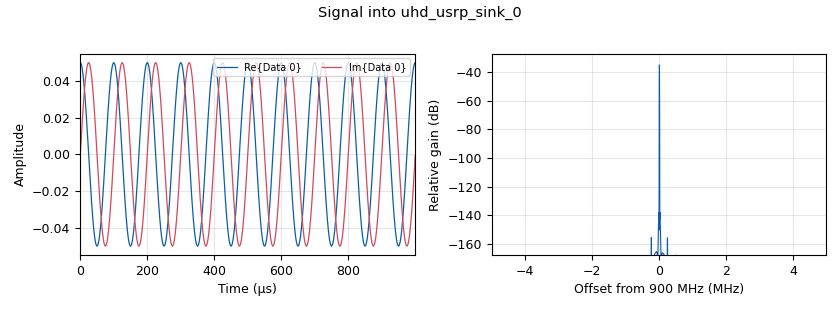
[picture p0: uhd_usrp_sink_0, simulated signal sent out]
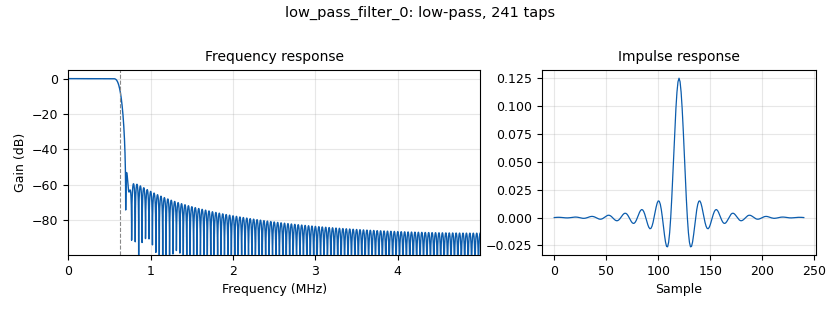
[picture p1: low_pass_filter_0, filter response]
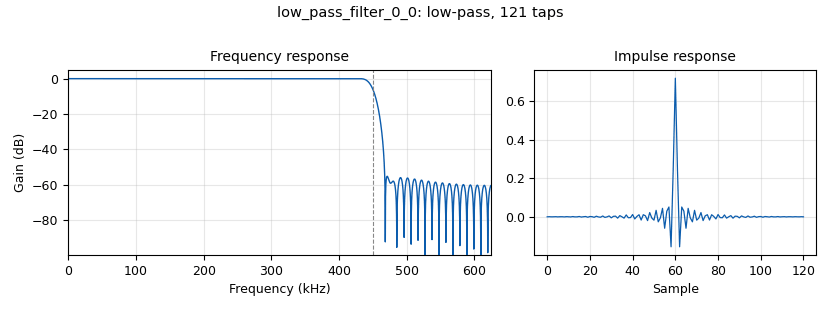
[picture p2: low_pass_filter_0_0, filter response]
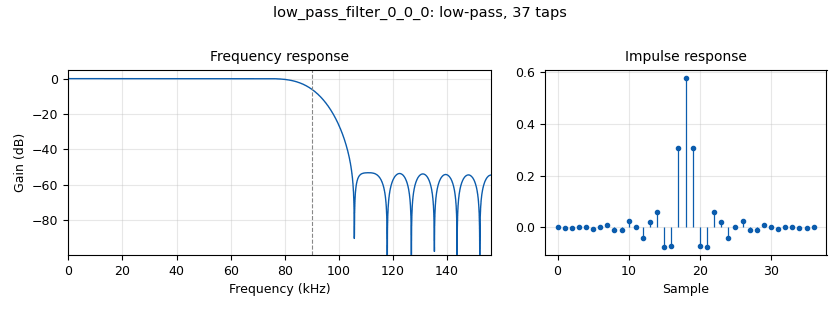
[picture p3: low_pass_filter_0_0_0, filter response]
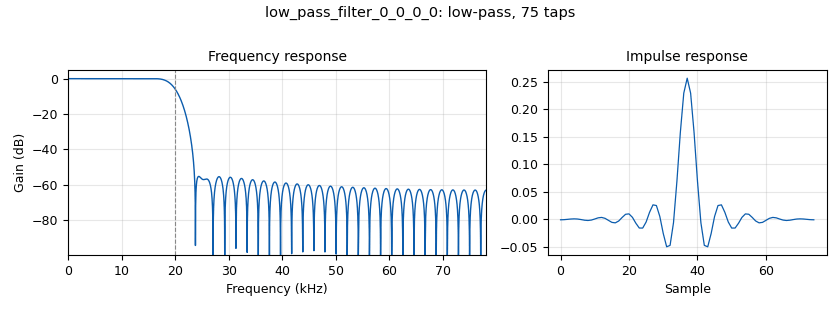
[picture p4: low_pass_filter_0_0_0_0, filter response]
options:
  parameters:
    generate_options: qt_gui
    id: test0_usrp
    output_language: python
    title: USRP loopback
  states: {}

blocks:
- name: collection_time_sec
  id: variable
  parameters:
    value: '10'
  states: {}
- name: fb
  id: variable
  parameters:
    value: 10e3
  states: {}
- name: fc
  id: variable
  parameters:
    value: 900e6
  states: {}
- name: fs_stage1
  id: variable
  parameters:
    value: samp_rate/8
  states: {}
- name: fs_stage2
  id: variable
  parameters:
    value: fs_stage1/4
  states: {}
- name: fs_stage3
  id: variable
  parameters:
    value: fs_stage2/2
  states: {}
- name: samp_rate
  id: variable
  parameters:
    value: 10e6
  states: {}
- name: analog_sig_source_x_0
  id: analog_sig_source_x
  parameters:
    amp: '0.05'
    freq: fb
    offset: '0'
    phase: '0'
    samp_rate: samp_rate
    type: complex
    waveform: analog.GR_SIN_WAVE
  states: {}
- name: analog_sig_source_x_0_0
  id: analog_sig_source_x
  parameters:
    amp: '0.05'
    freq: fb
    offset: '0'
    phase: '0'
    samp_rate: samp_rate
    type: complex
    waveform: analog.GR_SIN_WAVE
  states: {}
- name: blocks_complex_to_arg_0
  id: blocks_complex_to_arg
  parameters: {}
  states: {}
- name: blocks_multiply_conjugate_cc_1
  id: blocks_multiply_conjugate_cc
  parameters: {}
  states: {}
- name: low_pass_filter_0
  id: low_pass_filter
  parameters:
    cutoff_freq: '625000'
    decim: '8'
    gain: '1'
    samp_rate: samp_rate
    type: fir_filter_fff
    width: '100000'
    win: window.WIN_HAMMING
  states: {}
- name: low_pass_filter_0_0
  id: low_pass_filter
  parameters:
    cutoff_freq: '450000'
    decim: '4'
    gain: '1'
    samp_rate: fs_stage1
    type: fir_filter_fff
    width: '25000'
    win: window.WIN_HAMMING
  states: {}
- name: low_pass_filter_0_0_0
  id: low_pass_filter
  parameters:
    cutoff_freq: '90000'
    decim: '2'
    gain: '1'
    samp_rate: fs_stage2
    type: fir_filter_fff
    width: '20000'
    win: window.WIN_HAMMING
  states: {}
- name: low_pass_filter_0_0_0_0
  id: low_pass_filter
  parameters:
    cutoff_freq: '20000'
    decim: '1'
    gain: '1'
    samp_rate: fs_stage3
    type: fir_filter_fff
    width: '5000'
    win: window.WIN_HAMMING
  states: {}
- name: qtgui_const_sink_x_0
  id: qtgui_const_sink_x
  parameters:
    autoscale: 'True'
    grid: 'True'
    name: IQ constellation
    size: '1024'
    type: complex
  states: {state: disabled}
- name: qtgui_freq_sink_x_0
  id: qtgui_freq_sink_x
  parameters:
    autoscale: 'True'
    average: '0.2'
    bw: '10000'
    fc: '0'
    fftsize: '2048'
    grid: 'True'
    norm_window: 'True'
    type: float
    update_time: '0.01'
  states: {state: disabled}
- name: qtgui_time_sink_x_0
  id: qtgui_time_sink_x
  parameters:
    autoscale: 'True'
    grid: 'True'
    name: Phase (arg(I + jQ))
    size: '1024'
    srate: samp_rate
    type: float
    ylabel: Raw Phase
    yunit: rad
  states: {state: disabled}
- name: qtgui_time_sink_x_0_0
  id: qtgui_time_sink_x
  parameters:
    autoscale: 'True'
    grid: 'True'
    name: Phase (arg(I + jQ))
    size: '2048'
    srate: fs_stage2
    type: float
    ylabel: Phase
    yunit: rad
  states: {}
- name: uhd_usrp_sink_0
  id: uhd_usrp_sink
  parameters:
    ant0: '"TX/RX"'
    center_freq0: fc
    dev_addr: addr=192.168.10.2
    gain0: '28'
    samp_rate: samp_rate
    sync: pc_clock
    type: fc32
  states: {}
- name: uhd_usrp_source_0
  id: uhd_usrp_source
  parameters:
    ant0: '"RX2"'
    center_freq0: fc
    dev_addr: addr=192.168.10.2
    gain0: '8'
    samp_rate: samp_rate
    sync: pc_clock
    type: fc32
  states: {}

connections:
- [analog_sig_source_x_0, '0', uhd_usrp_sink_0, '0']
- [analog_sig_source_x_0_0, '0', blocks_multiply_conjugate_cc_1, '1']
- [blocks_complex_to_arg_0, '0', low_pass_filter_0, '0']
- [blocks_complex_to_arg_0, '0', qtgui_time_sink_x_0, '0']
- [blocks_multiply_conjugate_cc_1, '0', blocks_complex_to_arg_0, '0']
- [blocks_multiply_conjugate_cc_1, '0', qtgui_const_sink_x_0, '0']
- [low_pass_filter_0, '0', low_pass_filter_0_0, '0']
- [low_pass_filter_0_0, '0', low_pass_filter_0_0_0, '0']
- [low_pass_filter_0_0_0, '0', low_pass_filter_0_0_0_0, '0']
- [low_pass_filter_0_0_0_0, '0', qtgui_freq_sink_x_0, '0']
- [low_pass_filter_0_0_0_0, '0', qtgui_time_sink_x_0_0, '0']
- [uhd_usrp_source_0, '0', blocks_multiply_conjugate_cc_1, '0']

metadata:
  file_format: 1
  grc_version: 3.9.8.0
